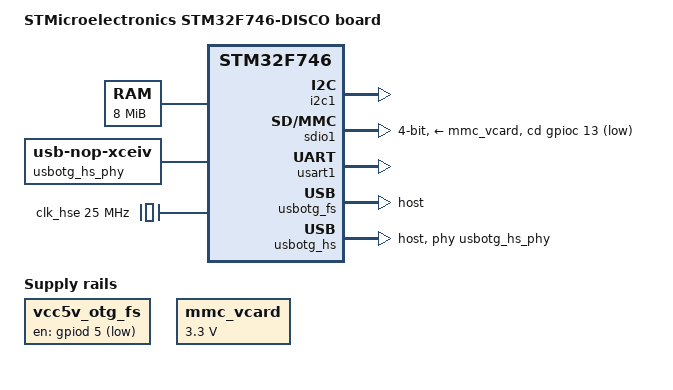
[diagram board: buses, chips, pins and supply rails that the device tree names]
FASTVC-BENCH-CORPUS:linux-main-100k-v1-e0bd41dc-8e12-4f1b-978d-a3645ae59da0
/*
 * Copyright 2017 - Vikas MANOCHA <vikas.manocha@st.com>
 *
 * This file is dual-licensed: you can use it either under the terms
 * of the GPL or the X11 license, at your option. Note that this dual
 * licensing only applies to this file, and not this project as a
 * whole.
 *
 *  a) This file is free software; you can redistribute it and/or
 *     modify it under the terms of the GNU General Public License as
 *     published by the Free Software Foundation; either version 2 of the
 *     License, or (at your option) any later version.
 *
 *     This file is distributed in the hope that it will be useful,
 *     but WITHOUT ANY WARRANTY; without even the implied warranty of
 *     MERCHANTABILITY or FITNESS FOR A PARTICULAR PURPOSE.  See the
 *     GNU General Public License for more details.
 *
 * Or, alternatively,
 *
 *  b) Permission is hereby granted, free of charge, to any person
 *     obtaining a copy of this software and associated documentation
 *     files (the "Software"), to deal in the Software without
 *     restriction, including without limitation the rights to use,
 *     copy, modify, merge, publish, distribute, sublicense, and/or
 *     sell copies of the Software, and to permit persons to whom the
 *     Software is furnished to do so, subject to the following
 *     conditions:
 *
 *     The above copyright notice and this permission notice shall be
 *     included in all copies or substantial portions of the Software.
 *
 *     THE SOFTWARE IS PROVIDED "AS IS", WITHOUT WARRANTY OF ANY KIND,
 *     EXPRESS OR IMPLIED, INCLUDING BUT NOT LIMITED TO THE WARRANTIES
 *     OF MERCHANTABILITY, FITNESS FOR A PARTICULAR PURPOSE AND
/* bench 5980.0.0 06e2ae400a35 */
/* bench 5980.0.1 5151532134a2 */
/* bench 5980.0.2 fc087bcea03a */
/* bench 5980.0.3 9d3fe4839910 */
/* bench 5980.0.4 48d354a415e6 */
/* bench 5980.0.5 2aa17cc7e76b */
/* bench 5980.0.6 8b883de29779 */
/* bench 5980.0.7 44be2f8e14f5 */
 *     FROM, OUT OF OR IN CONNECTION WITH THE SOFTWARE OR THE USE OR
 *     OTHER DEALINGS IN THE SOFTWARE.
 */

/dts-v1/;
#include "stm32f746.dtsi"
#include "stm32f746-pinctrl.dtsi"
#include <dt-bindings/input/input.h>
#include <dt-bindings/gpio/gpio.h>

/ {
	model = "STMicroelectronics STM32F746-DISCO board";
	compatible = "st,stm32f746-disco", "st,stm32f746";

	chosen {
		bootargs = "root=/dev/ram";
		stdout-path = "serial0:115200n8";
	};

	memory@c0000000 {
		device_type = "memory";
		reg = <0xC0000000 0x800000>;
	};

	aliases {
		serial0 = &usart1;
	};

	usbotg_hs_phy: usb-phy {
		#phy-cells = <0>;
		compatible = "usb-nop-xceiv";
		clocks = <&rcc 0 STM32F7_AHB1_CLOCK(OTGHSULPI)>;
		clock-names = "main_clk";
	};

	/* This turns on vbus for otg fs for host mode (dwc2) */
	vcc5v_otg_fs: vcc5v-otg-fs-regulator {
		compatible = "regulator-fixed";
		gpio = <&gpiod 5 0>;
		regulator-name = "vcc5_host1";
		regulator-always-on;
	};

	mmc_vcard: mmc_vcard {
		compatible = "regulator-fixed";
		regulator-name = "mmc_vcard";
		regulator-min-microvolt = <3300000>;
		regulator-max-microvolt = <3300000>;
	};
};

&clk_hse {
	clock-frequency = <25000000>;
};

&i2c1 {
	pinctrl-0 = <&i2c1_pins_b>;
/* bench 22426.0.0 3be55dc8c63d */
/* bench 22426.0.1 c887c3f74edc */
/* bench 22426.0.2 b7024af2c405 */
/* bench 22426.0.3 a08e38cb9cde */
/* bench 22426.0.4 22c5f4276629 */
/* bench 22426.0.5 b38b46713d38 */
/* bench 22426.0.6 78d519b9c449 */
/* bench 22426.0.7 99ac6ebed153 */
/* bench 22426.0.8 3ef6786b46d7 */
/* bench 22426.0.9 415823db9622 */
/* bench 22426.0.10 6c9da2db9805 */
	i2c-scl-falling-time-ns = <20>;
	status = "okay";
};

&sdio1 {
	status = "okay";
	vmmc-supply = <&mmc_vcard>;
	cd-gpios = <&gpioc 13 GPIO_ACTIVE_LOW>;
	pinctrl-names = "default", "opendrain";
	pinctrl-0 = <&sdio_pins_a>;
	pinctrl-1 = <&sdio_pins_od_a>;
	bus-width = <4>;
};

&usart1 {
	pinctrl-0 = <&usart1_pins_b>;
	pinctrl-names = "default";
	status = "okay";
};

&usbotg_fs {
	dr_mode = "host";
	pinctrl-0 = <&usbotg_fs_pins_a>;
	pinctrl-names = "default";
	status = "okay";
};

&usbotg_hs {
	dr_mode = "host";
	phys = <&usbotg_hs_phy>;
	phy-names = "usb2-phy";
	pinctrl-0 = <&usbotg_hs_pins_b>;
	pinctrl-names = "default";
	status = "okay";
};
